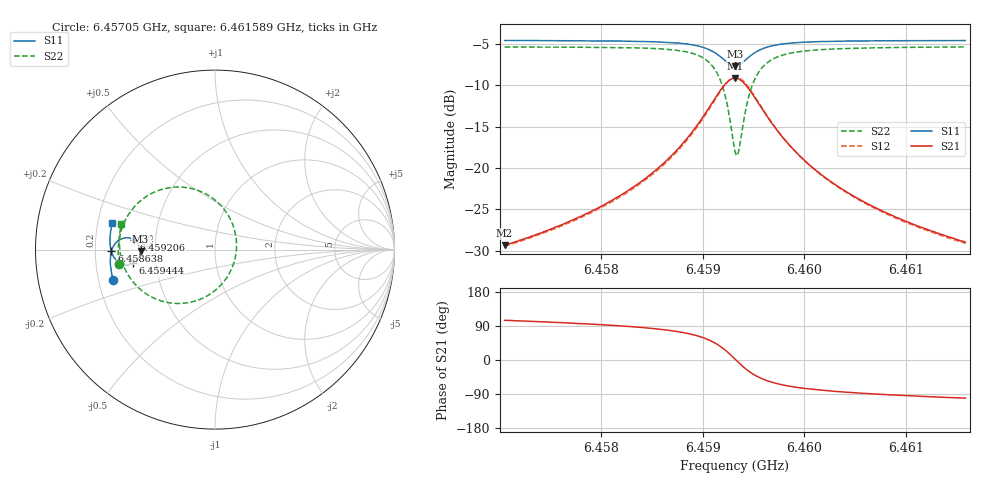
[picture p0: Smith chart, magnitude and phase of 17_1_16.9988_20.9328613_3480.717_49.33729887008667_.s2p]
#  HZ  S  RI  R  50.00
! Rohde & Schwarz Vector Network Analyzer
! Rohde-Schwarz,ZNB20-2Port,1311601062101988,3.16
! Created: UTC 3/20/2024, 10:52:49 PM
! freq[Hz]  re:S11  im:S11  re:S21  im:S21  re:S12  im:S12  re:S22  im:S22
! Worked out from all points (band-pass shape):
!   401 points, 6.45705 GHz to 6.461589 GHz, reference 50 ohm
!   highest |S21| = -9.11 dB at 6.459319 GHz (marker M1); lowest = -29.4 dB at 6.45705 GHz (marker M2)
!   |S21| within 3 dB of the highest: 6.459094 GHz to 6.459548 GHz (453.9 kHz wide, 0.00703 % of centre)
!   lowest |S11| = -7.6 dB at 6.459319 GHz (marker M3), VSWR 2.42, Z = 20.7 - j0.405 ohm
!   |S11| at or under -10 dB: nowhere
!   |S22| runs from -18.5 to -5.3 dB; largest |S21 - S12| = 0.014
!   S11 on the Smith chart (normalised r, x): 6.45705 GHz: 0.26, -0.14; 6.458638 GHz: 0.27, -0.01; 6.459206 GHz: 0.38, +0.05; 6.459444 GHz: 0.37, -0.07; 6.461589 GHz: 0.26, +0.12
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6.4570498e9  -0.5675 -0.1682  -0.00867 0.0329  -0.00688 0.033  -0.5344 -0.0778
6.4578101e9  -0.5809 -0.1014  -0.00517 0.0509  -0.00274 0.0504  -0.5386 0.012
6.4582527e9  -0.5836 -0.0567  0.00137 0.0721  0.0047 0.0707  -0.5288 0.0835
6.4585704e9  -0.5794 -0.018  0.0152 0.0998  0.019 0.0969  -0.5034 0.1569
6.4586385e9  -0.5771 -0.00848  0.0205 0.1083  0.0245 0.1049  -0.493 0.1768
6.4588314e9  -0.5643 0.0217  0.0474 0.1392  0.0514 0.1342  -0.4426 0.246
6.4589789e9  -0.5415 0.0482  0.0929 0.1698  0.096 0.1632  -0.3583 0.3102
6.4591151e9  -0.4972 0.0658  0.1808 0.1866  0.1816 0.1793  -0.1978 0.3484
6.4592059e9  -0.4521 0.0555  0.2715 0.1554  0.2715 0.1497  -0.0305 0.2979
6.459274e9  -0.4223 0.0234  0.3331 0.0831  0.3351 0.0782  0.0865 0.1679
6.4593193e9  -0.415 -0.00811  0.35 0.0146  0.3539 0.00799  0.1199 0.0395
6.4593534e9  -0.4187 -0.0323  0.3444 -0.0388  0.3487 -0.0475  0.1088 -0.0612
6.4593988e9  -0.4343 -0.0591  0.316 -0.0999  0.3184 -0.1115  0.0508 -0.1767
6.4594442e9  -0.4566 -0.076  0.273 -0.1419  0.2727 -0.1552  -0.0357 -0.2532
6.4594896e9  -0.4799 -0.0833  0.228 -0.1649  0.2243 -0.1778  -0.1265 -0.2911
6.459535e9  -0.5008 -0.0835  0.1868 -0.1738  0.1809 -0.1854  -0.2078 -0.3004
6.4596825e9  -0.5456 -0.0631  0.0973 -0.1595  0.0887 -0.1658  -0.3783 -0.2495
6.4598413e9  -0.5676 -0.0353  0.0517 -0.1309  0.044 -0.1337  -0.4598 -0.1762
6.4600796e9  -0.5807 0.000259  0.0222 -0.0987  0.0163 -0.0994  -0.5078 -0.0925
6.4604201e9  -0.5852 0.0412  0.00618 -0.0715  0.00196 -0.071  -0.5291 -0.0126
6.4608399e9  -0.5834 0.0836  -0.0017 -0.0526  -0.00438 -0.0517  -0.5331 0.0554
6.4615889e9  -0.5715 0.1503  -0.00655 -0.035  -0.0083 -0.034  -0.5215 0.1448
